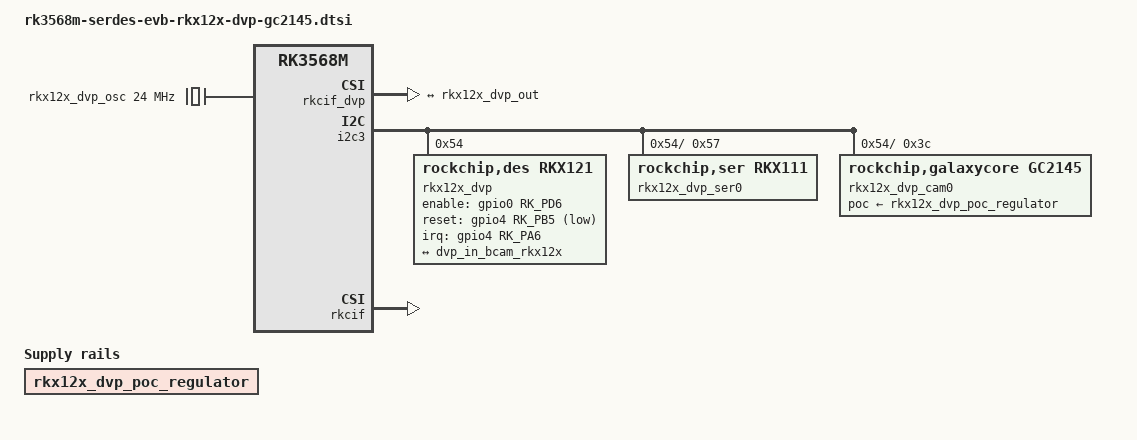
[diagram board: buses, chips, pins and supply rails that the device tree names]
// SPDX-License-Identifier: (GPL-2.0+ OR MIT)
/*
 * Copyright (c) 2024 Rockchip Electronics Co., Ltd.
 *
 */
#include <dt-bindings/display/media-bus-format.h>

/ {
	rkx12x_dvp_osc: rkx12x-dvp-oscillator {
		compatible = "fixed-clock";
		#clock-cells = <1>;
		clock-frequency = <24000000>;
		clock-output-names = "rkx12x-dvp-osc";
	};

	rkx12x_dvp_poc_regulator: rkx12x-dvp-poc-regulator {
		compatible = "regulator-fixed";
		regulator-name = "rkx12x_dvp_poc";
	};
};

&rkcif_dvp {
	status = "okay";

	port {
		/* Parallel bus endpoint */
		dvp_in_bcam_rkx12x: endpoint {
			remote-endpoint = <&rkx12x_dvp_out>;
			bus-width = <8>;
			vsync-active = <0>;
			hsync-active = <1>;
		};
	};
};

&i2c3 {
	status = "okay";

	rkx12x_dvp: rkx121@54 {
		compatible = "rockchip,des,rkx121";
		status = "okay";
		reg = <0x54>;
		clock-names = "xvclk";
		clocks = <&rkx12x_dvp_osc 0>;
		pinctrl-names = "default";
		pinctrl-0 = <&cif_clk &cif_dvp_clk &cif_dvp_bus16>, <&rkx12x_dvp_enable>, <&rkx12x_dvp_reset>, <&rkx12x_dvp_irq>;
		enable-gpios = <&gpio0 RK_PD6 GPIO_ACTIVE_HIGH>;
		reset-gpios = <&gpio4 RK_PB5 GPIO_ACTIVE_LOW>;
		irq-gpios = <&gpio4 RK_PA6 GPIO_ACTIVE_HIGH>;

		rockchip,camera-module-index = <0>;
		rockchip,camera-module-facing = "back";
		rockchip,camera-module-name = "CameraKing";
		rockchip,camera-module-lens-name = "Largan";
		rockchip,camera-module-sensor-name = "gc2145";

		port {
			rkx12x_dvp_out: endpoint {
				remote-endpoint = <&dvp_in_bcam_rkx12x>;
			};
		};

		/* support mode config start */
		support-mode-config {
			status = "okay";

			bus-format = <MEDIA_BUS_FMT_UYVY8_2X8>;
			sensor-width = <800>;
			sensor-height = <600>;
			max-fps-numerator = <10000>;
			max-fps-denominator = <160000>;
			bpp = <8>;
			link-freq-idx = <4>;
		};
		/* support mode config end */

		/* serdes local device start */
		serdes-local-device {
			status = "okay";

			stream-port = <0>; /* port: 0 or 1 */
			stream-interface = <1>; /* interface: 0 = csi, 1 = dvp */
			serdes-dclk-hz = <200000000>; // serdes dclk freq

			/* rklink lane config start */
			link-rate = <0>; /* 2GBPS_83MBPS */
			link-line = <0>; /* 0: common, 1: short, 2: long */
			lane-engine-id = <0>;
			lane-engine-delay = <8192>;
			lane-remote-ser = <&rkx12x_dvp_ser0>; // remote serializer
			lane-remote-cam = <&rkx12x_dvp_cam0>; // remote camera
			/* rklink lane config end */

			/* dvptx config start */
			dvptx-pclk = <200000000>; // dvptx pclk freq
			dvptx-clock-invert = <1>;
			/* dvptx config end */

			/* local device extra init sequence */
			extra-init-sequence {
				status = "disabled";

				/*
				 * rkx12x register init sequence
				 *   reg_addr: 32bits
				 *     reg_addr = FFFFFFFF: register end
				 *     reg_addr = FFFFFFFE: delay (unit: us)
				 *   reg_val: 32bits
				 *   val_mask: 32bits
				 */
				init-sequence = [
					// common init sequence such as fsync / gpio and so on
				];
			};
		};
		/* serdes local device end */

		/* i2c-mux start */
		i2c-mux {
			#address-cells = <1>;
			#size-cells = <0>;

			i2c@0 {
				#address-cells = <1>;
				#size-cells = <0>;
				reg = <0>;

				// Note: Serializer node defined before camera node
				rkx12x_dvp_ser0: rkx111@57 {
					compatible = "rockchip,ser,rkx111";
					reg = <0x57>;

					stream-interface = <1>; // 0: MIPI, 1: DVP, 2: LVDS
					serdes-dclk-hz = <200000000>; // serdes dclk freq
					camera-mclk-hz = <24000000>; // camera mclk freq
					camera-mclk-id = <1>; // camera mclk id: 0 or 1

					vicap-dvp {
						input-mode = <0>;
						raw-width = <2>;
						yuv-order = <0>;
						clock-invert = <0>;
					};

					linktx {
						lane-config-0 {
							lane-id = <0>; // Lane ID: 0/1
							dsource-id = <0>;
						};
					};

					/* serializer init sequence start */
					ser-init-sequence {
						status = "okay";

						/*
						 * rkx11x register init sequence
						 *   reg_addr: 32bits
						 *     reg_addr = FFFFFFFF: register end
						 *     reg_addr = FFFFFFFE: delay (unit: us)
						 *   reg_val: 32bits
						 *   val_mask: 32bits
						 */
						init-sequence = [
							/* camera gpio: reset, pwren, pwdn */
							00010008 0E000000 00000000 // iomux: GPIO0_B3
							00010004 01C70000 00000000 // iomux: GPIO0_A5 and GPIO0_A7
							00040008 08A008A0 00000000 // output direction: GPIO0_A5 GPIO0_A7 and GPIO0_B3
							00040000 00200000 00000000 // RESET (GPIO0_A5): active level = 0: output 0
							FFFFFFFE 000003E8 00000000 // delay: 1000us
							00040000 08000800 00000000 // PWREN (GPIO0_B3): active level = 1: output 1
							FFFFFFFE 00002710 00000000 // delay: 10000us
							00040000 00800000 00000000 // PWDN (GPIO0_A7) active level = 1: output 0
							FFFFFFFE 000003E8 00000000 // delay: 1000us
							00040000 00200020 00000000 // RESET (GPIO0_A5): deactive level = 1: output 1
							FFFFFFFE 000003E8 00000000 // delay: 1000us
						];
					};
					/* serializer init sequence end */
				};

				rkx12x_dvp_cam0: gc2145@3c {
					compatible = "rockchip,galaxycore,gc2145";
					reg = <0x3c>;

					cam-remote-ser = <&rkx12x_dvp_ser0>; // remote serializer

					poc-supply = <&rkx12x_dvp_poc_regulator>;

					rockchip,camera-module-index = <0>;
					rockchip,camera-module-facing = "back";
					rockchip,camera-module-name = "CameraKing";
					rockchip,camera-module-lens-name = "Largan";

					/* port config start */
					port {
						rkx12x_dvp_cam0_out: endpoint {
						};
					};
					/* port config end */
				};
			};
		};
		/* i2c-mux end */
	};
};

&rkcif {
	status = "okay";
	rockchip,android-usb-camerahal-enable;
};

&rkcif_mmu {
	status = "okay";
};

&pinctrl {
	rkx12x-dvp {
		rkx12x_dvp_enable: rkx12x-dvp-enable {
			rockchip,pins = <0 RK_PD6 RK_FUNC_GPIO &pcfg_pull_none>;
		};

		rkx12x_dvp_reset: rkx12x-dvp-reset {
			rockchip,pins = <4 RK_PB5 RK_FUNC_GPIO &pcfg_pull_none>;
		};

		rkx12x_dvp_irq: rkx12x-dvp-irq {
			rockchip,pins = <4 RK_PA6 RK_FUNC_GPIO &pcfg_pull_none>;
		};
	};
};
